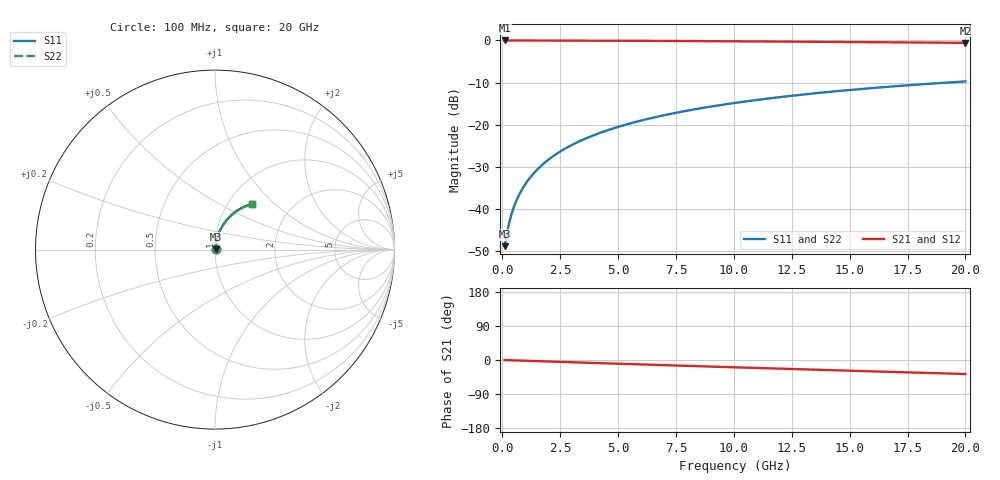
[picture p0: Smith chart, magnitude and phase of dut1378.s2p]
! Touchstone file exported from HFSS 2026.1.0
!  File:  C:/ffzhzh/LocalFiles/Ansys_Project_Files/temp_train_TMRDL_1378_1783165996_43440.aedt
!  Generated:  07:54:32 PM Jul  4, 2026
!  Design:  TMRDL
!  Project:  temp_train_TMRDL_1378_1783165996_43440
! Variables:
!  h_bsmrdl = 2um
!  h_ox = 20um
!  h_rdl = 5um
!  h_sub = 80um
!  h_tmrdl = 4.02um
!  h_tsv = 80um
!  h_via = 3um
!  l_bsmrdl = 300um
!  l_sub = 952.56um
!  l_tmrdl = 552.56um
!  m_sub = 200um
!  pitch = 37.69um
!  r_tsv = 6um
!  s_tmrdl = 10um
!  w_bsmrdl = 18um
!  w_sub = 500um
!  w_tmrdl = 17.3um
!  x_tsv_center1 = 561.21um
!  x_tsv_center2 = 879.21um
!  x_tsv_center3 = 1449.07um
!  x_tsv_center4 = 1767.07um
!  x_tsv_center5 = 2336.93um
!  x_tsv_center6 = 2654.93um
# GHz S MA R 50.000000
! Terminal data exported
! Port[1] = TM_RDL1_1_T1
! Port[2] = TM_RDL1_1_T2
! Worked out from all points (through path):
!   200 points, 100 MHz to 20 GHz, reference 50 ohm
!   highest |S21| = -0.03 dB at 100 MHz (marker M1); lowest = -0.6 dB at 20 GHz (marker M2)
!   group delay of S21, straight-line fit = 5.13 ps
!   lowest |S11| = -48.8 dB at 100 MHz (marker M3), VSWR 1.01, Z = 50.3 + j0.212 ohm
!   |S11| at or under -10 dB: start of sweep to 19.24 GHz
!   |S22| runs from -48.8 to -9.7 dB; largest |S21 - S12| = 3.2e-15
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0.1  0.003636 35.4  0.997 -0.2  0.997 -0.2  0.003636 35.4
! Gamma 0 0 0 0
! Port Impedance 50 0 50 0
0.2  0.005184 53.2  0.9969 -0.4  0.9969 -0.4  0.005184 53.2
0.3  0.006947 61.9  0.9968 -0.6  0.9968 -0.6  0.006947 61.9
0.4  0.008757 66.8  0.9966 -0.8  0.9966 -0.8  0.008757 66.8
0.5  0.01058 70.1  0.9965 -1.0  0.9965 -1.0  0.01058 70.1
0.6  0.01242 72.4  0.9964 -1.2  0.9964 -1.2  0.01242 72.4
0.8  0.01612 75.4  0.9963 -1.6  0.9963 -1.6  0.01612 75.4
1.1  0.02172 77.9  0.9961 -2.2  0.9961 -2.2  0.02172 77.9
1.3  0.02548 78.8  0.9959 -2.6  0.9959 -2.6  0.02548 78.8
1.6  0.03114 79.5  0.9956 -3.2  0.9956 -3.2  0.03114 79.5
2.1  0.04057 80.0  0.9951 -4.2  0.9951 -4.2  0.04057 80.0
2.7  0.05186 79.7  0.9942 -5.3  0.9942 -5.3  0.05186 79.7
3.5  0.06679 78.9  0.9929 -6.9  0.9929 -6.9  0.06679 78.9
4.2  0.07971 77.9  0.9915 -8.3  0.9915 -8.3  0.07971 77.9
5  0.09428 76.6  0.9897 -9.8  0.9897 -9.8  0.09428 76.6
5.9  0.1104 75.1  0.9874 -11.5  0.9874 -11.5  0.1104 75.1
6.8  0.1263 73.6  0.985 -13.2  0.985 -13.2  0.1263 73.6
8.3  0.1521 71.0  0.9805 -16.1  0.9805 -16.1  0.1521 70.9
10.1  0.1821 67.8  0.9745 -19.4  0.9745 -19.4  0.1821 67.8
13.4  0.2342 62.1  0.9621 -25.4  0.9621 -25.4  0.2342 62.1
16.7  0.2822 56.5  0.9483 -31.3  0.9483 -31.3  0.2822 56.5
20  0.3259 51.0  0.9337 -37.0  0.9337 -37.0  0.3259 51.0
